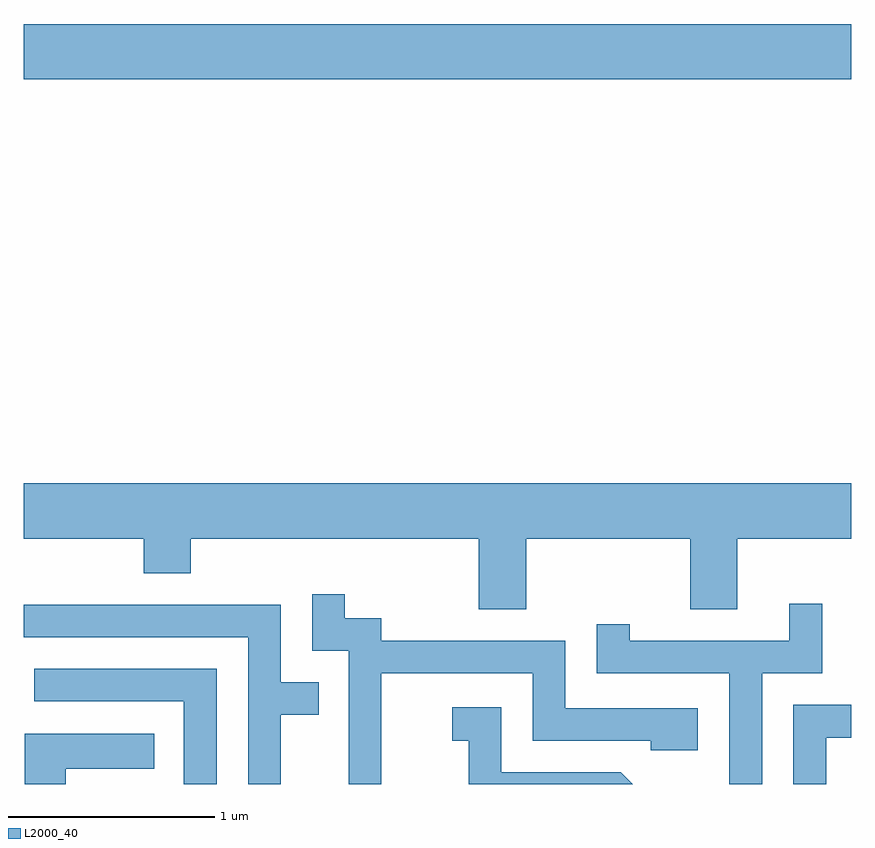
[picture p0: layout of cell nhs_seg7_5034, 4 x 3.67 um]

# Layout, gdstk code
import gdstk
lib = gdstk.Library(unit=1e-6, precision=1e-09)
def R(c, l, rs):  # rectangles x0, y0, x1, y1
    for r in rs: c.add(gdstk.rectangle(r[:2], r[2:], *l))
def P(c, l, *ps):  # polygons
    for p in ps: c.add(gdstk.Polygon(p, *l))
L2000_40 = (2000, 40)

nhs_seg7_5034 = lib.new_cell('nhs_seg7_5034')
R(nhs_seg7_5034, L2000_40, [(339.611,1707.656,343.611,1707.924)])
P(nhs_seg7_5034, L2000_40, [(342.039,1705.436),(342.831,1705.436),(342.831,1705.096),(343.059,1705.096),(343.059,1705.436),(343.611,1705.436),(343.611,1705.704),(339.611,1705.704),(339.611,1705.436),(340.191,1705.436),(340.191,1705.271),(340.419,1705.271),(340.419,1705.436),(341.811,1705.436),(341.811,1705.096),(342.039,1705.096)],
  [(341.339,1704.786),(342.071,1704.786),(342.071,1704.461),(342.641,1704.461),(342.641,1704.416),(342.869,1704.416),(342.869,1704.619),(342.229,1704.619),(342.229,1704.944),(341.339,1704.944),(341.339,1705.054),(341.164,1705.054),(341.164,1705.168),(341.006,1705.168),(341.006,1704.896),(341.181,1704.896),(341.181,1704.252),(341.339,1704.252)],
  [(343.179,1704.786),(343.469,1704.786),(343.469,1705.123),(343.311,1705.123),(343.311,1704.944),(342.539,1704.944),(342.539,1705.023),(342.381,1705.023),(342.381,1704.786),(343.021,1704.786),(343.021,1704.252),(343.179,1704.252)],
  [(340.854,1704.586),(341.038,1704.586),(341.038,1704.744),(340.854,1704.744),(340.854,1705.119),(339.611,1705.119),(339.611,1704.961),(340.696,1704.961),(340.696,1704.252),(340.854,1704.252)],
  [(340.544,1704.809),(339.663,1704.809),(339.663,1704.651),(340.386,1704.651),(340.386,1704.252),(340.544,1704.252)],
  [(343.489,1704.476),(343.611,1704.476),(343.611,1704.634),(343.331,1704.634),(343.331,1704.252),(343.489,1704.252)],
  [(342.497,1704.309),(341.919,1704.309),(341.919,1704.624),(341.683,1704.624),(341.683,1704.461),(341.761,1704.461),(341.761,1704.252),(342.554,1704.252)],
  [(339.814,1704.326),(340.243,1704.326),(340.243,1704.494),(339.616,1704.494),(339.616,1704.252),(339.814,1704.252)])

lib.write_gds('nhs_seg7_5034.gds')
